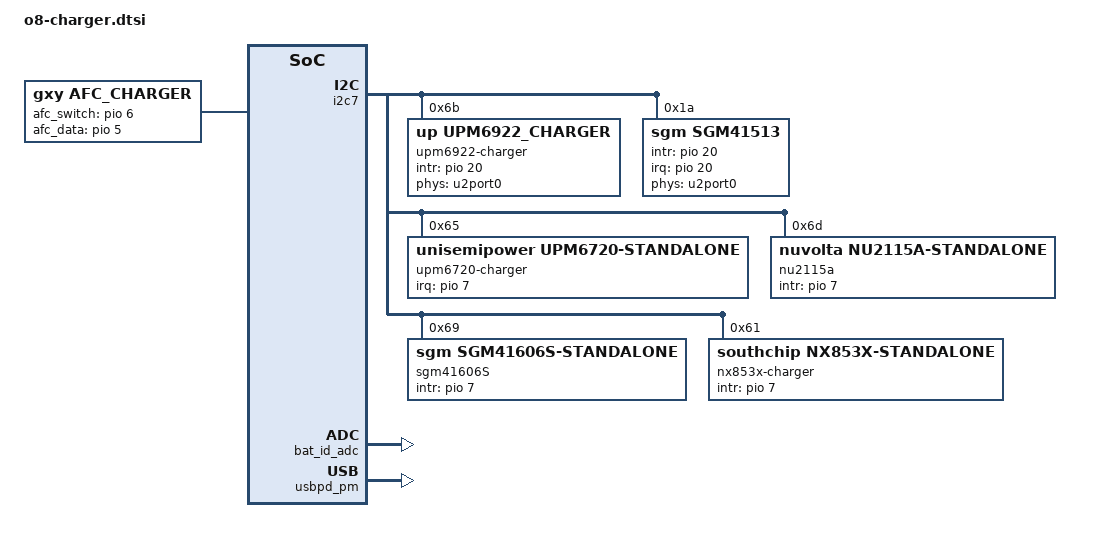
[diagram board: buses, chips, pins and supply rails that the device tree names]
#include <dt-bindings/phy/phy.h>
#include <dt-bindings/iio/mt635x-auxadc.h>

&lk_charger {
    max_charger_voltage = <10400000>;
    ac_charger_input_current = <1500000>;

    /* battery temperature protection */
    temp_t4_threshold = <50>;
    temp_t3_threshold = <45>;
    temp_t2_threshold = <12>;
    temp_t1_threshold = <5>;
    temp_t0_threshold = <0>;
};

&charger {
    io-channels = <&pmic_auxadc AUXADC_VCDT>;
    io-channel-names = "pmic_vbus";

    max_charger_voltage = <10400000>;
    charger_voltage_drop = <700000>;

    /* common */
    battery_cv = <4450000>;

    /* charging current */
    ac_charger_current = <2000000>;
    ac_charger_input_current = <1550000>;

    /* sw jeita */
    enable_sw_jeita;
    jeita_temp_above_t4_cv = <4250000>;
    jeita_temp_t3_to_t4_cv = <4250000>;
    jeita_temp_t2_to_t3_cv = <4450000>;
    jeita_temp_t1_to_t2_cv = <4450000>;
    jeita_temp_t0_to_t1_cv = <4450000>;
    jeita_temp_below_t0_cv = <4450000>;
    jeita_temp_above_t4_cur = <0>;
    jeita_temp_t3_to_t4_cur = <3000000>;
    jeita_temp_t2_to_t3_cur = <3000000>;
    jeita_temp_t1_to_t2_cur = <1320000>;
    jeita_temp_t0_to_t1_cur = <420000>;
    jeita_temp_below_t0_cur = <0>;
    temp_t4_thres = <52>;
    temp_t4_thres_minus_x_degree = <50>;
    temp_t3_thres = <42>;
    temp_t3_thres_minus_x_degree = <40>;
    temp_t2_thres = <15>;
    temp_t2_thres_plus_x_degree = <17>;
    temp_t1_thres = <8>;
    temp_t1_thres_plus_x_degree = <10>;
    temp_t0_thres = <0>;
    temp_t0_thres_plus_x_degree = <2>;
    temp_neg_10_thres = <0>;
    /*A06_V code for SR-AL7160V-01-163 by xiongxiaoliang at 20240912 start*/
    gxy-batt-aging-enable;
    gxy-cv-ranges = <0 199 4450000
                200 249 4430000
                250 299 4410000
                300 1000 4390000
                1001 9999 4340000>;
    /*A06_V code for SR-AL7160V-01-163 by xiongxiaoliang at 20240912 end*/
};

/*A06_V code for SR-AL7160V-01-139 by xiongxiaoliang at 20240906 start*/
&pdc {
    pd_vbus_upper_bound = <10000000>;
    pd_stop_battery_soc = <100>;
    /* single charger */
    sc_input_current = <1700000>;
    sc_charger_current = <2700000>;
    /* dual charger */
    vbat_threshold = <4450>;
};
/*A06_V code for SR-AL7160V-01-139 by xiongxiaoliang at 20240906 end*/

&i2c7 {
    upm6922-charger {
        compatible = "up,upm6922_charger";
        status = "okay";
        reg = <0x6b>;
        up,intr_gpio = <&pio 20 0>;

        up,upm6922,ichg = <500>;              /* unit:1mA */
        up,upm6922,iprechg = <420>;            /* unit:1mA */
        up,upm6922,iterm = <240>;              /* unit:1mA */
        up,upm6922,vreg = <4400>;              /* unit:1mV */
        up,upm6922,vindpm = <4600>;            /* unit:1mV */
        up,upm6922,boostv = <5000>;            /* unit:1mV */
        up,upm6922,boosti = <1200>;            /* unit:1mA */
        /*A06_V code for SR-AL7160V-01-134 by xiongxiaoliang at 20240830 start*/
        up,upm6922,vac-ovp = <11000>;          /* unit:1mV */
        /*A06_V code for SR-AL7160V-01-134 by xiongxiaoliang at 20240830 end*/
        //up,upm6922,continuous-adc-enable;
        phys = <&u2port0 PHY_TYPE_USB2>;
        phy-names = "usb2-phy";
        usb = <&usb>;
    };

    /*A06_V code for SR-AL7160V-01-131 by xiongxiaoliang at 20240827 start*/
    sgm41513 {
        status = "okay";
        compatible = "sgm,sgm41513";
        reg = <0x1A>;

        interrupt-parent = <&pio>;
        interrupts = <20 IRQ_TYPE_EDGE_FALLING>;
        /*A06_V code for SR-AL7160V-01-138 by xiongxiaoliang at 20240910 start*/
        sgm,intr_gpio = <&pio 20 0x0>;
        /*A06_V code for SR-AL7160V-01-138 by xiongxiaoliang at 20240910 end*/
        input-current-limit-microamp = <2400000>;
        phys = <&u2port0 PHY_TYPE_USB2>;
        phy-names = "usb2-phy";
        usb = <&usb>;
    };
    /*A06_V code for SR-AL7160V-01-131 by xiongxiaoliang at 20240827 end*/
    /*A06_V code for SR-AL7160V-01-134 by xiongxiaoliang at 20240830 start*/
    /*charger pump*/
    upm6720-charger@65{
        status = "okay";
        compatible = "unisemipower,upm6720-standalone";
        reg = <0x65>;		//I2C1 SENSOR_I2C
        upm6720,irq-gpio = <&pio 7 0>;
        upm6720,bat-ovp-disable = <0>;
        upm6720,bat-ocp-disable  = <0>;
        /* A06 code for AL7160A-1466 by liufurong at 20240525 start */
        // upm6720,bus-ucp-disable  = <0>;
        // upm6720,bus-rcp-disable  = <0>;
        /* A06 code for AL7160A-1466 by liufurong at 20240525 end */
        upm6720,vout-ovp-disable = <0>;
        upm6720,tdie-flt-disable;
        upm6720,tsbus-flt-disable;
        upm6720,tsbat-flt-disable;
        upm6720,wdt-disable;
        upm6720,vbus-errhi-disable;
        upm6720,bat-ovp-threshold = <4525>;			/* unit: 1mV */
        upm6720,bat-ocp-threshold = <8200>;			/* unit: 1mA */
        upm6720,bus-ovp-threshold = <11000>;		/* unit: 1mV */
        upm6720,bus-ocp-threshold = <5100>;			/* unit: 1mA */
        upm6720,bus-ucp-threshold = <250>;			/* unit: 1mA */
        upm6720,bus-rcp-threshold = <300>;			/* unit: 1mA */
        /* A06 code for AL7160A-1417 by jiashixian at 20240522 start*/
        upm6720,vac1-ovp-threshold = <12000>;		/* unit: 1mV */
        upm6720,vac2-ovp-threshold = <12000>;		/* unit: 1mV */
        /* A06 code for AL7160A-1417 by jiashixian at 20240522 end*/
        upm6720,vout-ovp-threshold = <5000>;		/* unit: 1mV */
        upm6720,tdie-flt-threshold = <140>;			/* unit: 1℃ */
        upm6720,tsbus-flt-threshold = <4102>;		/* unit: 0.001% */
        upm6720,tsbat-flt-threshold = <4102>;		/* unit: 0.001% */

        // upm6720,bat-ovp-mask;
        // upm6720,bat-ocp-mask;
        // upm6720,bus-ovp-mask;
        // upm6720,bus-ocp-mask;
        // upm6720,bus-ucp-mask;
        // upm6720,bus-rcp-mask;
        // upm6720,vout-ovp-mask;
        // upm6720,vac1-ovp-mask;
        // upm6720,vac2-ovp-mask;
        // upm6720,vout-present-mask;
        // upm6720,vac1-present-mask;
        // upm6720,vac2-present-mask;
        // upm6720,vbus-present-mask;
        // upm6720,acrb1-config-mask;
        // upm6720,acrb2-config-mask;
        // upm6720,cfly-short-mask;
        // upm6720,adc-done-mask;
        // upm6720,ss-timeout-mask;
        // upm6720,tsbus-flt-mask;
        // upm6720,tsbat-flt-mask;
        // upm6720,tdie-flt-mask;
        // upm6720,wd-mask;
        // upm6720,regn-good-mask;
        // upm6720,conv-active-mask;
        // upm6720,vbus-errhi-mask;
        // upm6720,bat-ovp-alm-disable;
        // upm6720,bat-ocp-alm-disable;
        // upm6720,bat-ucp-alm-disable;
        // upm6720,bus-ovp-alm-disable;
        // upm6720,tdie-alm-disable;
        upm6720,bat-ovp-alm-threshold = <4510>;		/* unit: 1mV */
        upm6720,bat-ocp-alm-threshold = <8000>;		/* unit: 1mA */
        upm6720,bat-ucp-alm-threshold = <0>;		/* unit: 1mA */
        upm6720,bus-ovp-alm-threshold = <11000>;	/* unit: 1mV */
        upm6720,bus-ocp-alm-threshold = <4000>;		/* unit: 1mA */
        upm6720,tdie-alm-threshold = <125>;			/* unit: 1℃ */
        // upm6720,bat-ovp-alm-mask;
        // upm6720,bat-ocp-alm-mask;
        // upm6720,bat-ucp-alm-mask;
        // upm6720,bus-ovp-alm-mask;
        // upm6720,bus-ocp-alm-mask;
        // upm6720,tsbus-tsbat-alm-mask;
        // upm6720,tdie-alm-mask;
        // upm6720,bus-pulldown-en;
        // upm6720,vac1-pulldown-en;
        // upm6720,vac2-pulldown-en;
        upm6720,sense-resistor-mohm = <5>;	/* unit: 1mohm */
        upm6720,ss-timeout = <10000>;		/* unit: 1ms */
        upm6720,wdt-set = <30000>;			/* unit: 1ms */
        upm6720,chg-config-1 = <1>;
        upm6720,fsw-set = <500>;
        upm6720,freq-shift = <0>;
        upm6720,ibus-ucp-fall-dg-sel = <0>;
        upm6720,adc-enable;
        upm6720,adc-rate = <0>;
        upm6720,adc-avg = <0>;
        upm6720,adc-avg-init = <0>;
        upm6720,adc-sample-bit = <0>;
        // upm6720,ibus-adc-disable;
        // upm6720,vbus-adc-disable;
        // upm6720,vac1-adc-disable;
        // upm6720,vac2-adc-disable;
        // upm6720,vout-adc-disable;
        // upm6720,vbat-adc-disable;
        // upm6720,ibat-adc-disable;
        // upm6720,tsbus-adc-disable;
        // upm6720,tsbat-adc-disable;
        // upm6720,tdie-adc-disable;
    };

    /*A06_V code for SR-AL7160V-01-135|SR-AL7160V-01-136 by xiongxiaoliang at 20240902 start*/
    nu2115a@6d{
        compatible = "nuvolta,nu2115a-standalone";
        status = "okay";
        reg = <0x6d>;
        nu2115a,intr_gpio = <&pio 7 0>;
        nuvolta,nu2115a,bat-ovp-disable = <0>;
        nuvolta,nu2115a,bat-ocp-disable = <0>;
        nuvolta,nu2115a,bus-ocp-disable = <0>;
        nuvolta,nu2115a,bat-ovp-threshold = <4575>;
        nuvolta,nu2115a,bat-ocp-threshold = <8000>;
        nuvolta,nu2115a,bus-ovp-threshold = <11000>;
        nuvolta,nu2115a,bus-ovp-alarm-threshold = <11000>;
        nuvolta,nu2115a,bus-ocp-threshold = <4000>;
        nuvolta,nu2115a,bus-ocp-alarm-threshold = <3500>;
        nuvolta,nu2115a,ac-ovp-threshold = <11000>;
        nuvolta,nu2115a,sense-resistor-mohm = <5>;
    };

    sgm41606S: sgm41606S@69 {
        status = "okay";
        compatible = "sgm,sgm41606S-standalone";
        reg = <0x69>;
        sgm41606S,intr_gpio = <&pio 7 0>;     //irq num base on hardware design
        sgm,sgm41606S,vbat-ovp-dis = <0>;
        sgm,sgm41606S,vbat-ovp = <105>; //3.5V+ BATOVP [6:0]*0.01V
        sgm,sgm41606S,vbat-ovp-alm = <105>; // 3.5V+BUSOVPALM[6:0]*0.01V  3.5V(0000000) – 4.77V(1111111)
        sgm,sgm41606S,ibat-ocp-dis = <0>;
        sgm,sgm41606S,ibat-ocp  = <81>; //BATOCP < 8.5A,[6:0]*0.1A;>8.5A,8.5A+(BATOCP[6:0]-1010101b) *0.3A
        sgm,sgm41606S,ibat-ocp_alm = <81>; //BATOCP_ALM[6:0]*0.1A
        //sgm,sgm41606S,vac-ovp-en = <0>;
        /* A06 code for AL7160A-1417 by jiashixian at 20240522 start*/
        sgm,sgm41606S,vac-ovp = <2>;//000 = 6.5V,001 = 10.5V,010 = 12V,011 = 14V,100 = 16V,101 = 18V
        sgm,sgm41606S,vac2-ovp = <2>;//000 = 6.5V,001 = 10.5V,010 = 12V,011 = 14V,100 = 16V,101 = 18V
        /* A06 code for AL7160A-1417 by jiashixian at 20240522 end*/
        //sgm,sgm41606S,vbus-ovp-en = <0>;
        sgm,sgm41606S,vbus-ovp = <80>; // 7V+BUSOVP[6:0]*0.05V  7V(0000000) – 12.75V(1110011)
        sgm,sgm41606S,vbus-ovp-alm = <80>; // 7V+BUSOVPALM[6:0]*0.05V  7V(0000000) – 12.75V(1110011)
        sgm,sgm41606S,tdie-flt-dis = <1>;
        /* A06 code for AL7160A-2699 by jiashixian at 20240607 start*/
        sgm,sgm41606S,vbus-ucp-dis = <0>;
        sgm,sgm41606S,vbus-ucp = <1>;
        sgm,sgm41606S,vbus-rcp-dis = <0>;
        /* A06 code for AL7160A-2699 by jiashixian at 20240607 end*/
        sgm,sgm41606S,vbus-high-dis = <1>;
        sgm,sgm41606S,ibus-ocp  = <14>; // 1A+BUSOCP[4:0]*0.25A ,1A (00000) – 6.5A (10110)
        sgm,sgm41606S,ibat-ucp-dis = <0>;
        sgm,sgm41606S,ibat-ucp-alm = <40>; /*0~4.5A,BATUCP_ALM[6:0]*0.05A*/
        sgm,sgm41606S,tsbus-flt-dis = <1>;/*0:enable 1:disable*/
        sgm,sgm41606S,tsbat-flt-dis = <1>;/*0:enable 1:disable*/
        sgm,sgm41606S,vbus-low-en = <1>;
        sgm,sgm41606S,vbus-high-en = <1>;

        sgm,sgm41606S,fsw-set = <2>;/*0:187.5kHz 1:250 2:300 3:375 4:500 5:750 6:1000 7:1500*/
        sgm,sgm41606S,wdt-dis = <1>;
        sgm,sgm41606S,wd-timeout = <3>; /*0:0.5s 1:1s 2:2s 3:5s 4:10s 5:20s 6:40s 7:80s*/
        sgm,sgm41606S,chg-en = <0>;
        sgm,sgm41606S,mode = <0>; /*0:off 1:bypass */
        sgm,sgm41606S,rsns = <1>; /*0:2mohm 1:5mohm*/
        sgm,sgm41606S,voutovp-dis = <1>;
        sgm,sgm41606S,enable-adc = <1>;/*0:disable 1:enable*/
        sgm,sgm41606S,enable-vac1-adc = <0>;/*0:enable 1:disable*/
    };

    nx853x-charger@61{
        compatible = "southchip,nx853x-standalone";
        reg = <0x61>;
        nx853x,intr_gpio = <&pio 7 0x0>; /* GPIO */
        charger_name = "primary_dvchg";
        charger_name_v4_19 = "primary_divider_chg";

        sc,nx853x,vbat-ovp-dis = <0>;
        sc,nx853x,vbat-ovp = <80>; /*3840 + val * 10*/
        sc,nx853x,ibat-ocp-dis = <0>;
        sc,nx853x,ibat-ocp = <82>; /*val * 100*/
        sc,nx853x,vbus-ovp-dis = <0>;
        sc,nx853x,vbus-ovp = <7>; /*9250 + val * 250*/
        sc,nx853x,vac-ovp-dis = <0>;
        sc,nx853x,vac-ovp = <1>; /*0:6.5V 1:11V 2:12V 3:13V 4:14V 5~7:15V*/
        sc,nx853x,ibus-ocp-dis = <0>;
        sc,nx853x,ibus-ocp = <100>; /*val * 50*/
        sc,nx853x,pmid2out-ovp-dis = <0>;
        /* A06 code for AL7160A-2699 by jiashixian at 20240607 start*/
        sc,nx853x,pmid2out-ovp = <7>; /*400 + val * 100*/
        /* A06 code for AL7160A-2699 by jiashixian at 20240607 end*/
        sc,nx853x,pmid2out-uvp-dis = <0>;
        /* A06 code for AL7160A-2699 by jiashixian at 20240607 start*/
        sc,nx853x,pmid2out-uvp = <7>; /*100 + val * 50*/
        /* A06 code for AL7160A-2699 by jiashixian at 20240607 end*/
        sc,nx853x,ibatreg = <0>; /*200 + val * 100*/
        sc,nx853x,ibusreg = <0>; /*100 + val * 50*/
        sc,nx853x,vbatreg = <0>; /*50 + val * 50*/
        sc,nx853x,tdiereg = <1>; /*0:90°C 1:100°C 2:110°C 3:120°C*/
        sc,nx853x,them-flt = <24>; /*val * 25*/
        sc,nx853x,ibat-sns-res = <1>; /*0:2hmo 1:5hmo*/
        sc,nx853x,pmid-pd-en = <0>;
        sc,nx853x,vbus-pd-en = <0>;
        sc,nx853x,work-mode = <0>; /*0: 2:1charge   1: 1:1charge 2: 1:2converte 3: 1:1converte*/
        sc,nx853x,ss-timeout = <7>; /*0:disable 1:10ms 2:20ms 3:400ms, 4:80ms 5:320ms 6:1.28s 7:10.24s*/
        sc,nx853x,wd-timeout-dis = <1>;
        sc,nx853x,wd-timeout = <0>; /*0:0.5s 1:1s 2:5s 3:30s*/
        sc,nx853x,vout-ovp-dis = <0>;
        sc,nx853x,vout-ovp = <3>; /*4700 + val * 100*/
        sc,nx853x,fsw-freq = <7>; /*500 + val * 100*/
        sc,nx853x,pin-diag-fall-dis = <0>;
        sc,nx853x,them-flt-dis = <1>;
        sc,nx853x,tshut-dis = <1>;
        sc,nx853x,vbus-in-range-dis = <0>;
        sc,nx853x,ibus-ucp-dis = <0>;
        sc,nx853x,ibat-reg-dis = <1>;
        sc,nx853x,ibus-reg-dis = <1>;
        sc,nx853x,vbat-reg-dis = <1>;
        sc,nx853x,tdie-reg-dis = <1>;
        sc,nx853x,ibat-ocp-dg = <0>; /*0:160us 1:80us 2:320us 3:5ms*/
        sc,nx853x,ibus-ucp-fall-dg = <1>; /*0:8us 1:5ms 2:40ms 3:160ms*/
        sc,nx853x,ibus-ocp-dg = <0>; /*0:160us 1:80us 2:320us 3:5ms*/
        sc,nx853x,vbat-ovp-dg = <0>; /*0:8us 1:160us 2:320us 3:5ms*/
    };
    /*A06_V code for SR-AL7160V-01-135|SR-AL7160V-01-136 by xiongxiaoliang at 20240902 end*/
};

/*A06_V code for SR-AL7160V-01-160 by shixuanxuan at 20240827 start*/
&odm {
    gxy_psy: gxy_psy {
        compatible = "gxy, gxy_psy";
        status = "okay";
    };

    bat_id_adc: bat_id_adc {
        compatible = "gxy, bat_id_adc";
        io-channels = <&auxadc 4>;
        io-channel-names = "gxy-battid";
    };

    /*A06_V code for SR-AL7160V-01-134|SR-AL7160V-01-143 by xiongxiaoliang at 20240903 start*/
    usbpd_pm {
        compatible = "unisemipower,usbpd-pm";
        pd-bat-volt-max = <4450>;
        pd-bat-curr-max = <6000>;
        pd-bus-volt-max = <14500>;
        pd-bus-curr-max = <2770>;
        pd-fc2-taper-curr = <1500>;
        pd-fc2-one-step = <1>;
        pd-adapter-min-vol-required = <11000>;
        pd-adapter-min-curr-required = <2000>;
        pd-fc2-min-vbat-for-cp = <3300>;
        pd-fc2-second-cp-enable;
        pd-fc2-disable-sw;
    };
    /*A06_V code for SR-AL7160V-01-134|SR-AL7160V-01-143 by xiongxiaoliang at 20240903 end*/
    /*A06_V code for SR-AL7160V-01-139 by xiongxiaoliang at 20240906 start*/
    /* AFC  Fast charging */
    afc_charger: afc_charger {
        compatible = "gxy,afc_charger";
        gauge = <&mtk_gauge>;
        status = "okay";

        afc_switch_gpio_num = <6>;
        afc_switch_gpio = <&pio 6 0x0>;
        afc_data_gpio_num = <5>;
        afc_data_gpio = <&pio 5 0x0>;

        afc_start_battery_soc = <0>;
        afc_stop_battery_soc = <100>;
        afc_pre_input_current = <500000>;
        afc_charger_input_current = <1700000>;
        afc_charger_current = <2700000>;
        afc_min_charger_voltage = <4600000>;
        vbat_threshold = <4450>;
    };
    /*A06_V code for SR-AL7160V-01-139 by xiongxiaoliang at 20240906 end*/
    /*A06_V code for SR-AL7160V-01-161 by xiongxiaoliang at 20240919 start*/
    gxy_battery_ttf: gxy_battery_ttf {
        status = "okay";
        battery,ttf_dcp_charge_current = <1500>;
        battery,ttf_hv_charge_current = <2655>;
        battery,ttf_pd25_charge_current = <5000>;
        battery,ttf_pd45_charge_current = <10000>;
        battery,ttf_capacity = <4855>;
        /*fg_current soc cv_time*/
        battery,cv_data = <
            2043  82  3660
            1722  85  3422
            1502  87  3232
            1286  89  3000
            1074  91  2721
            864  93  2365
            664  95  1909
            478  97  1277
            384  98  876
            307   99  335
            230   100  0
        >;
    };
    /*A06_V code for SR-AL7160V-01-161 by xiongxiaoliang at 20240919 end*/
};
/*A06_V code for SR-AL7160V-01-160 by shixuanxuan at 20240827 end*/
